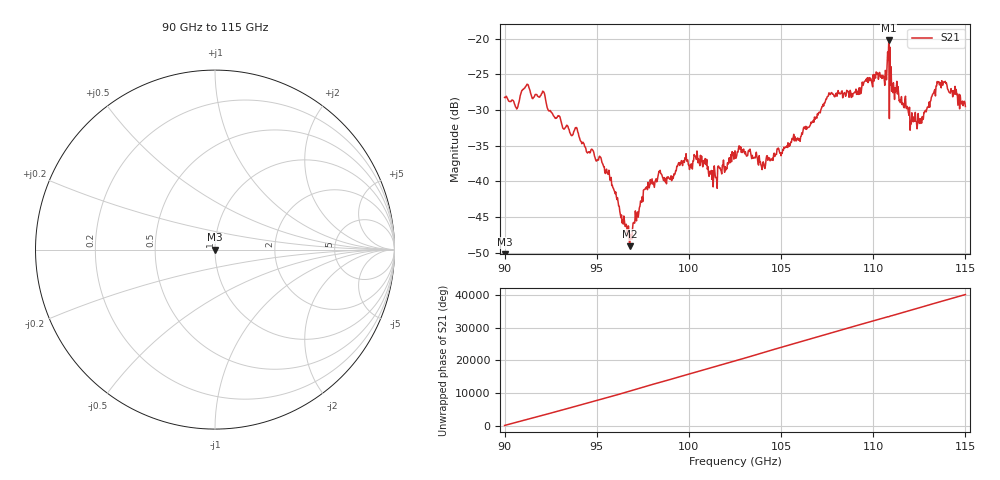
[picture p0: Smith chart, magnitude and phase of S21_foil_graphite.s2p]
!Agilent Technologies,E8363B,MY43030303,A.07.50.37
!Agilent E8363B: A.07.50.37
!Date: Thursday, February 02, 2012 04:03:24
!Correction: S11(Off)
!S21(Off)
!S12(Off)
!S22(Off)
!S2P File: Measurements: S11, S21, S12, S22:
# Hz S  dB  R 50
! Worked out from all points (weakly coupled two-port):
!   801 points, 90 GHz to 115 GHz, reference 50 ohm
!   highest |S21| = -20.25 dB at 110.8 GHz (marker M1); lowest = -49.1 dB at 96.78 GHz (marker M2)
!   lowest |S11| = - dB at 90 GHz (marker M3), VSWR 1.00, Z = 50 + j7.07e-09 ohm
!   |S11| at or under -10 dB: start of sweep to end of sweep
!   S12 and S22 are empty: the file has one direction only
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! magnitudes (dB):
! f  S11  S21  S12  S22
! 90 GHz  -  -28.2  -  -
! 90.66 GHz  -  -29.9  -  -
! 91.16 GHz  -  -26.7  -  -
! 92.06 GHz  -  -27.4  -  -
! 94.19 GHz  -  -34.7  -  -
! 95.66 GHz  -  -38.4  -  -
! 96.78 GHz  -  -49.1  -  -
! 97.66 GHz  -  -40.9  -  -
! 98.34 GHz  -  -39.0  -  -
! 100.4 GHz  -  -36.9  -  -
! 101.4 GHz  -  -38.7  -  -
! 102.5 GHz  -  -35.7  -  -
! 104 GHz  -  -37.2  -  -
! 106.7 GHz  -  -31.7  -  -
! 107.6 GHz  -  -27.6  -  -
! 109.2 GHz  -  -26.9  -  -
! 110.8 GHz  -  -20.3  -  -
! 111.1 GHz  -  -27.2  -  -
! 112.1 GHz  -  -31.6  -  -
! 112.6 GHz  -  -31.2  -  -
! 113.6 GHz  -  -26.5  -  -
! 115 GHz  -  -29.5  -  -
